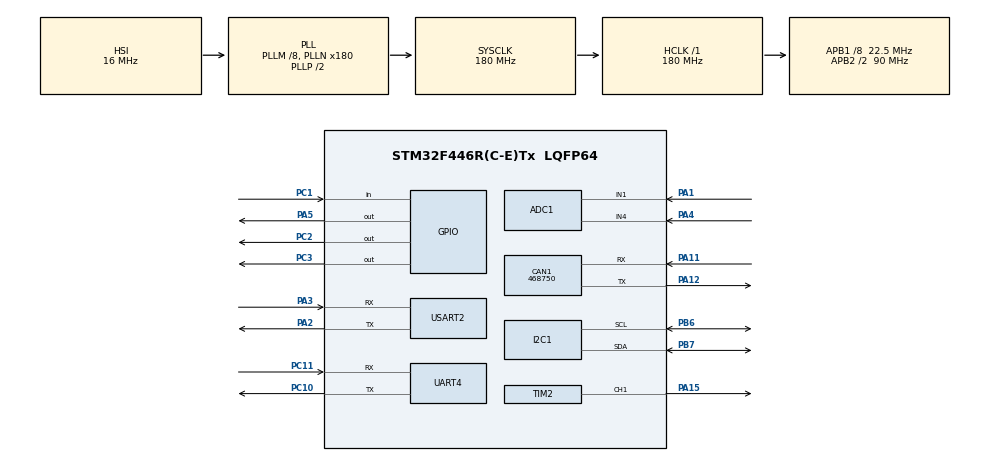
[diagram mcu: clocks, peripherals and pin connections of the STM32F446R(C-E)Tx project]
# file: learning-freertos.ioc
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ADC1.Channel-0\#ChannelRegularConversion=ADC_CHANNEL_1
ADC1.Channel-1\#ChannelRegularConversion=ADC_CHANNEL_1
ADC1.Channel-10\#ChannelRegularConversion=ADC_CHANNEL_1
ADC1.Channel-11\#ChannelRegularConversion=ADC_CHANNEL_1
ADC1.Channel-2\#ChannelRegularConversion=ADC_CHANNEL_1
ADC1.Channel-3\#ChannelRegularConversion=ADC_CHANNEL_1
ADC1.Channel-8\#ChannelRegularConversion=ADC_CHANNEL_1
ADC1.Channel-9\#ChannelRegularConversion=ADC_CHANNEL_1
ADC1.NbrOfConversion=8
ADC1.NbrOfConversionFlag=1
ADC1.Rank-0\#ChannelRegularConversion=1
ADC1.Rank-1\#ChannelRegularConversion=2
ADC1.Rank-10\#ChannelRegularConversion=7
ADC1.Rank-11\#ChannelRegularConversion=8
ADC1.Rank-2\#ChannelRegularConversion=3
ADC1.Rank-3\#ChannelRegularConversion=4
ADC1.Rank-8\#ChannelRegularConversion=5
ADC1.Rank-9\#ChannelRegularConversion=6
ADC1.SamplingTime-0\#ChannelRegularConversion=ADC_SAMPLETIME_3CYCLES
ADC1.SamplingTime-1\#ChannelRegularConversion=ADC_SAMPLETIME_3CYCLES
ADC1.SamplingTime-10\#ChannelRegularConversion=ADC_SAMPLETIME_3CYCLES
ADC1.SamplingTime-11\#ChannelRegularConversion=ADC_SAMPLETIME_3CYCLES
ADC1.SamplingTime-2\#ChannelRegularConversion=ADC_SAMPLETIME_3CYCLES
ADC1.SamplingTime-3\#ChannelRegularConversion=ADC_SAMPLETIME_3CYCLES
ADC1.SamplingTime-8\#ChannelRegularConversion=ADC_SAMPLETIME_3CYCLES
ADC1.SamplingTime-9\#ChannelRegularConversion=ADC_SAMPLETIME_3CYCLES
ADC1.master=1
CAN1.BS1=CAN_BS1_1TQ
CAN1.BS2=CAN_BS2_1TQ
CAN1.CalculateBaudRate=468750
CAN1.CalculateTimeBit=2133
CAN1.CalculateTimeQuantum=711.1111111111111
FREERTOS.Tasks01=defaultTask,24,128,StartDefaultTask,Default,NULL,Dynamic,NULL,NULL
Mcu.Family=STM32F4
Mcu.Name=STM32F446R(C-E)Tx
Mcu.Package=LQFP64
NVIC.PriorityGroup=NVIC_PRIORITYGROUP_4
NVIC.TIM2_IRQn=true\:5\:0\:false\:false\:true\:true\:true\:true\:true
NVIC.TIM6_DAC_IRQn=true\:15\:0\:false\:false\:true\:false\:false\:true\:true
NVIC.TimeBase=TIM6_DAC_IRQn
NVIC.TimeBaseIP=TIM6
PA1.Signal=ADCx_IN1
PA11.Mode=CAN_Activate
PA11.Signal=CAN1_RX
PA12.Mode=CAN_Activate
PA12.Signal=CAN1_TX
PA15.Signal=S_TIM2_CH1_ETR
PA2.Mode=Asynchronous
PA2.Signal=USART2_TX
PA3.Mode=Asynchronous
PA3.Signal=USART2_RX
PA4.Signal=ADCx_IN4
PA5.Signal=GPIO_Output
PB6.Mode=I2C
PB6.Signal=I2C1_SCL
PB7.Mode=I2C
PB7.Signal=I2C1_SDA
PC1.Signal=GPIO_Input
PC10.Mode=Asynchronous
PC10.Signal=UART4_TX
PC11.Mode=Asynchronous
PC11.Signal=UART4_RX
PC2.Signal=GPIO_Output
PC3.Signal=GPIO_Output
PH0-OSC_IN.Mode=HSE-External-Oscillator
PH0-OSC_IN.Signal=RCC_OSC_IN
PH1-OSC_OUT.Mode=HSE-External-Oscillator
PH1-OSC_OUT.Signal=RCC_OSC_OUT
ProjectManager.HeapSize=0x200
ProjectManager.StackSize=0x400
ProjectManager.TargetToolchain=STM32CubeIDE
RCC.AHBFreq_Value=180000000
RCC.APB1CLKDivider=RCC_HCLK_DIV8
RCC.APB1Freq_Value=22500000
RCC.APB1TimFreq_Value=45000000
RCC.APB2CLKDivider=RCC_HCLK_DIV2
RCC.APB2Freq_Value=90000000
RCC.APB2TimFreq_Value=180000000
RCC.CortexFreq_Value=180000000
RCC.HCLKFreq_Value=180000000
RCC.PLLM=8
RCC.PLLN=180
RCC.SYSCLKFreq_VALUE=180000000
RCC.SYSCLKSource=RCC_SYSCLKSOURCE_PLLCLK
RCC.USBFreq_Value=180000000
RCC.VCOOutputFreq_Value=360000000
SH.ADCx_IN1.0=ADC1_IN1,IN1
SH.ADCx_IN4.0=ADC1_IN4,IN4
SH.S_TIM2_CH1_ETR.0=TIM2_CH1,Output Compare1 CH1
TIM2.Channel-Output\ Compare1\ CH1=TIM_CHANNEL_1
TIM2.Period=999
TIM2.Prescaler=44999
TIM2.Pulse-Output\ Compare1\ CH1=999
UART4.VirtualMode=Asynchronous
USART2.VirtualMode=VM_ASYNC
VP_FREERTOS_VS_CMSIS_V2.Mode=CMSIS_V2
VP_SYS_VS_tim6.Mode=TIM6
board=custom

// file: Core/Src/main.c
/* USER CODE BEGIN Header */
/**
  ******************************************************************************
  * @file           : main.c
  * @brief          : Main program body
  ******************************************************************************
  * @attention
  *
  * Copyright (c) 2026 STMicroelectronics.
  * All rights reserved.
  *
  * This software is licensed under terms that can be found in the LICENSE file
  * in the root directory of this software component.
  * If no LICENSE file comes with this software, it is provided AS-IS.
  *
  ******************************************************************************
  */
/* USER CODE END Header */
#include "main.h"
#include "cmsis_os.h"

/* USER CODE BEGIN Includes */
#include "FreeRTOS.h"
#include "task.h"
#include "semphr.h"

#include <stdio.h>
#include <stdlib.h>
#include <stdbool.h>
#include <stdatomic.h>

#include "ring_buffer.h"
#include "uart_driver.h"
#include "i2c.h"
#include "freertos_tasks.h"
#include "CAN_inverter.h"
//#include "CAN_inverter.h"
//#include "freertos_control_task.h"

/* USER CODE END Includes */

/* USER CODE BEGIN PD */
extern SemaphoreHandle_t xIDLESemphr;
extern QueueHandle_t frame_q;
extern TaskHandle_t xMain_ControllerHandle;
extern QueueHandle_t CAN_Command_q;
extern QueueHandle_t CAN_Communciation_q;

extern volatile uint16_t adc_buf[NUM_CH];
extern volatile uint32_t seq;
extern volatile frame_t current_frame;

// From the CAN file
extern QueueHandle_t CAN_Mailbox_q;

//extern volatile atomic_bool adc_conver_ready_buf1;
//extern volatile atomic_bool adc_conver_ready_buf2;
/* USER CODE END PD */

/* USER CODE BEGIN PM */
DMA_HandleTypeDef hdma2;

uint8_t i2c_active_devices[I2C_NUM_VALID_ADDR];
// layout: [A0, B0, A1, B1]  -> frame 0 = {A0,B0}, frame 1 = {A1,B1}
/* USER CODE END PM */

ADC_HandleTypeDef hadc1;

CAN_HandleTypeDef hcan1;

I2C_HandleTypeDef hi2c1;

TIM_HandleTypeDef htim2;

UART_HandleTypeDef huart4;
UART_HandleTypeDef huart2;

/* Definitions for defaultTask */
//osThreadId_t defaultTaskHandle;
//const osThreadAttr_t defaultTask_attributes = {
//  .name = "defaultTask",
//  .stack_size = 128 * 4,
//  .priority = (osPriority_t) osPriorityNormal,
//};
/* USER CODE BEGIN PV */
volatile uint32_t start;
volatile uint32_t prev;
volatile uint32_t cycle_count;
volatile uint8_t cycle_flag = 0;

volatile uint8_t num = 0;

volatile bool RX_receive_ready = 0;
volatile bool RX_overrun_error = 0;
volatile bool RX_buffer_overflow = 0;

Ring_Buffer_t ring_buffer;
Ring_Buffer_t tx_buffer;
Ring_Buffer_t rx_buffer;

uint8_t storage[BUFFER_SIZE];
uint8_t tx_storage[BUFFER_SIZE];
uint8_t rx_storage[BUFFER_SIZE];

/* USER CODE END PV */

void SystemClock_Config(void);
static void MX_GPIO_Init(void);
static void MX_ADC1_Init(void);
static void MX_CAN1_Init(void);
static void MX_I2C1_Init(void);
static void MX_UART4_Init(void);
static void MX_USART2_UART_Init(void);
static void MX_TIM2_Init(void);
void StartDefaultTask(void *argument);

/* USER CODE BEGIN PFP */

int _write(int file, char *ptr, int len);

void start_DWT_cycle_counter(void) {
	CoreDebug->DEMCR |= CoreDebug_DEMCR_TRCENA_Msk;
	DWT->CYCCNT = 0;
	DWT->CTRL |= DWT_CTRL_CYCCNTENA_Msk;
}

uint32_t get_cycle_count(void) {
	return DWT->CYCCNT;
}

void HAL_GPIO_EXTI_Callback(uint16_t GPIO_Pin) { // will be used to go from IDLE to READY_TO_DRIVE
    BaseType_t xHigherPriorityTaskWoken = pdFALSE;

    xSemaphoreGiveFromISR(xIDLESemphr, &xHigherPriorityTaskWoken);

    portYIELD_FROM_ISR(xHigherPriorityTaskWoken);

}

void HAL_TIM_OC_DelayElapsedCallback(TIM_HandleTypeDef* htim) {
	BaseType_t xHigherPriorityTaskWoken = pdFALSE;

	if (xMain_ControllerHandle != NULL) {
		vTaskNotifyGiveFromISR(xMain_ControllerHandle, &xHigherPriorityTaskWoken);
	}

	portYIELD_FROM_ISR(xHigherPriorityTaskWoken);
}

void HAL_ADC_ErrorCallback(ADC_HandleTypeDef *hadc) {
	return; // Do this later
}

void HAL_ADC_ConvHalfCpltCallback(ADC_HandleTypeDef *hadc) {

// I have disabled half conversion completes
}

// Package raw ADC val into frame and send via a queue
void HAL_ADC_ConvCpltCallback(ADC_HandleTypeDef *hadc) {

    frame_t frame = {.a = adc_buf[0], .b = adc_buf[1], .seq_num = ++seq, .t_cycles = DWT->CYCCNT};

    BaseType_t xHigherPriorityTaskWoken = pdFALSE;
    xQueueOverwriteFromISR(frame_q, &frame, &xHigherPriorityTaskWoken); // length-1 queue: keeps only the latest
    portYIELD_FROM_ISR(xHigherPriorityTaskWoken);

}

// CAN Callbacks
void HAL_CAN_TxMailbox0CompleteCallback(CAN_HandleTypeDef *hcan) {
//	UBaseType_t uxSavedInterruptStatus;
//
//	uxSavedInterruptStatus = taskENTER_CRITICAL_FROM_ISR();
//	{
//		mailbox_empty_flag |= (uint8_t)CAN_TX_MAILBOX0;
//	}
//	taskEXIT_CRITICAL_FROM_ISR(uxSavedInterruptStatus);

	uint32_t mailbox_num = CAN_TX_MAILBOX0;

    BaseType_t xHigherPriorityTaskWoken = pdFALSE;
    xQueueSendFromISR(CAN_Mailbox_q, &mailbox_num, &xHigherPriorityTaskWoken);
    portYIELD_FROM_ISR(xHigherPriorityTaskWoken);

}

void HAL_CAN_TxMailbox1CompleteCallback(CAN_HandleTypeDef *hcan) {
	uint32_t mailbox_num = CAN_TX_MAILBOX1;

    BaseType_t xHigherPriorityTaskWoken = pdFALSE;
    xQueueSendFromISR(CAN_Mailbox_q, &mailbox_num, &xHigherPriorityTaskWoken);
    portYIELD_FROM_ISR(xHigherPriorityTaskWoken);
}
}

void HAL_CAN_TxMailbox2CompleteCallback(CAN_HandleTypeDef *hcan) {
	uint32_t mailbox_num = CAN_TX_MAILBOX2;

    BaseType_t xHigherPriorityTaskWoken = pdFALSE;
    xQueueSendFromISR(CAN_Mailbox_q, &mailbox_num, &xHigherPriorityTaskWoken);
    portYIELD_FROM_ISR(xHigherPriorityTaskWoken);
}

void start_interrupts(void) {
//	  HAL_ADC_Start_IT(&hadc1);

	 // Make sure to use length in number of ADC CONVERSIONS, not frames
	  HAL_ADC_Start_DMA(&hadc1, (uint32_t *)adc_buf, NUM_CH);
	  __HAL_DMA_DISABLE_IT(hadc1.DMA_Handle, DMA_IT_HT); // Disable half-conversion complete

	  HAL_TIM_OC_Start_IT(&htim2, TIM_CHANNEL_1);
	  // Enable update interrupt and disable Capture/Compare interrupt (for now)
	  TIM2->DIER |= TIM_DIER_UIE;
//	  TIM2->DIER &= ~TIM_DIER_CC1IE;

	  // Enable CAN interrupts (4 possible vectors)
	  	  // Transmit Interrupts
	  HAL_CAN_ActivateNotification(&hcan1,CAN_IT_TX_MAILBOX_EMPTY);

	  	  // Receive Interrupts
	  HAL_CAN_ActivateNotification(&hcan1,CAN_IT_RX_FIFO0_MSG_PENDING);
	  HAL_CAN_ActivateNotification(&hcan1,CAN_IT_RX_FIFO0_FULL);
	  HAL_CAN_ActivateNotification(&hcan1,CAN_IT_RX_FIFO0_OVERRUN);

	  enable_uart_rx_interrupt();
}

void kernel_init(void) {

//	atomic_init(&adc_conver_ready_buf1,false);
//	atomic_init(&adc_conver_ready_buf2,false);

}

/* USER CODE END PFP */

int main(void)
{

  /* MCU Configuration--------------------------------------------------------*/

  /* Reset of all peripherals, Initializes the Flash interface and the Systick. */
  HAL_Init();

  /* Configure the system clock */
  SystemClock_Config();

  /* Initialize all configured peripherals */
  MX_GPIO_Init();
  MX_ADC1_Init();
  MX_CAN1_Init();
  MX_I2C1_Init();
  MX_UART4_Init();
  MX_USART2_UART_Init();
  MX_TIM2_Init();
  /* USER CODE BEGIN 2 */
  setvbuf(stdout, NULL, _IONBF, 0);
  start_DWT_cycle_counter();

//  rb_init(&ring_buffer, storage, BUFFER_SIZE);
//  rb_init(&tx_buffer, tx_storage, BUFFER_SIZE);
//  rb_init(&rx_buffer, rx_storage, BUFFER_SIZE);

  uint8_t holder;
  uint8_t uart_receiver_buffer[BUFFER_SIZE];

//  start_interrupts();

  uint8_t char_array[] = {'H','E','L','L','O','\r','\n'};
  uint32_t rough_timer = HAL_GetTick();

  /* USER CODE END 2 */

  /* Init scheduler */
  //osKernelInitialize();

  /* USER CODE BEGIN RTOS_SEMAPHORES */
  /* add semaphores, ... */
  xIDLESemphr = xSemaphoreCreateBinary();

  /* USER CODE END RTOS_SEMAPHORES */

  /* USER CODE BEGIN RTOS_QUEUES */
  /* add queues, ... */
  frame_q = xQueueCreate(1, sizeof(frame_t));
  CAN_Command_q = xQueueCreate(1, sizeof(float));
  CAN_Communciation_q = xQueueCreate(1, sizeof(FSM_Events));
  CAN_Mailbox_q = xQueueCreate(NUM_OF_MAILBOXES, sizeof(uint32_t));
  /* USER CODE END RTOS_QUEUES */

  /* Create the thread(s) */
  /* creation of defaultTask */
  //defaultTaskHandle = osThreadNew(StartDefaultTask, NULL, &defaultTask_attributes);

  /* Start scheduler */
  //osKernelStart();

  /* We should never get here as control is now taken by the scheduler */

  /* Infinite loop */
  /* USER CODE BEGIN WHILE */

  /* Start scheduler */
  vTaskStartScheduler();

  /* We should never get here as control is now taken by the scheduler */

  while (1)
  {
    /* USER CODE END WHILE */

//	  HAL_Delay(500);
//	  uart_write(&tx_buffer,char_array,7);

	  if (HAL_GetTick() - rough_timer > 1000) {
//		  uart_write(&tx_buffer, char_array, 7);
		  rough_timer = HAL_GetTick();
	  }

//		  if (cycle_flag) {
//			  cycle_flag = 0;
//			  printf("%lu\r\n", cycle_count);
//		  }

//	  if (RX_receive_ready) {
//		  // Set RX_receive_ready to false, use critical section
//			__disable_irq();
//			RX_receive_ready = false;
//			__enable_irq();
//
//		  uint8_t rx_data;
//		  uart_read(&rx_buffer,&rx_data);
//
//		  printf("\tRECEIVED: %c\r\n",(char)rx_data);
//
//		  //uint32_t data_sent = uart_write(&tx_buffer, char_array, 7);
//	  }
//
//	  if (RX_overrun_error) { // ORE
//			__disable_irq();
//			RX_overrun_error = false;
//			__enable_irq();
//
//		  printf("OVERRUN ERROR HAS OCCURED\r\n");
//		  // Could add more stuff here
//	  }
//
//	  if (RX_buffer_overflow) {
//			__disable_irq();
//			RX_buffer_overflow = false;
//			__enable_irq();
//
//		  printf("BUFFER OVERFLOW HAS OCCURED\r\n");
//		  // Could add more stuff here
//	  }

  }
}

void SystemClock_Config(void)
{
  RCC_OscInitTypeDef RCC_OscInitStruct = {0};
  RCC_ClkInitTypeDef RCC_ClkInitStruct = {0};

  /** Configure the main internal regulator output voltage
  */
  __HAL_RCC_PWR_CLK_ENABLE();
  __HAL_PWR_VOLTAGESCALING_CONFIG(PWR_REGULATOR_VOLTAGE_SCALE1);

  /** Initializes the RCC Oscillators according to the specified parameters
  * in the RCC_OscInitTypeDef structure.
  */
  RCC_OscInitStruct.OscillatorType = RCC_OSCILLATORTYPE_HSI;
  RCC_OscInitStruct.HSIState = RCC_HSI_ON;
  RCC_OscInitStruct.HSICalibrationValue = RCC_HSICALIBRATION_DEFAULT;
  RCC_OscInitStruct.PLL.PLLState = RCC_PLL_ON;
  RCC_OscInitStruct.PLL.PLLSource = RCC_PLLSOURCE_HSI;
  RCC_OscInitStruct.PLL.PLLM = 8;
  RCC_OscInitStruct.PLL.PLLN = 180;
  RCC_OscInitStruct.PLL.PLLP = RCC_PLLP_DIV2;
  RCC_OscInitStruct.PLL.PLLQ = 2;
  RCC_OscInitStruct.PLL.PLLR = 2;
  if (HAL_RCC_OscConfig(&RCC_OscInitStruct) != HAL_OK)
  {
    Error_Handler();
  }

  /** Activate the Over-Drive mode
  */
  if (HAL_PWREx_EnableOverDrive() != HAL_OK)
  {
    Error_Handler();
  }

  /** Initializes the CPU, AHB and APB buses clocks
  */
  RCC_ClkInitStruct.ClockType = RCC_CLOCKTYPE_HCLK|RCC_CLOCKTYPE_SYSCLK
                              |RCC_CLOCKTYPE_PCLK1|RCC_CLOCKTYPE_PCLK2;
  RCC_ClkInitStruct.SYSCLKSource = RCC_SYSCLKSOURCE_PLLCLK;
  RCC_ClkInitStruct.AHBCLKDivider = RCC_SYSCLK_DIV1;
  RCC_ClkInitStruct.APB1CLKDivider = RCC_HCLK_DIV8;
  RCC_ClkInitStruct.APB2CLKDivider = RCC_HCLK_DIV2;

  if (HAL_RCC_ClockConfig(&RCC_ClkInitStruct, FLASH_LATENCY_5) != HAL_OK)
  {
    Error_Handler();
  }
}

static void MX_ADC1_Init(void)
{

  ADC_ChannelConfTypeDef sConfig = {0};

  /* USER CODE BEGIN ADC1_Init 1 */

  // The ADC has a speed of 90 MHz/4 = 22.5 MHz
  // Note the ADC VREF+ is tied to VDD (3.3V), VREF- is tied to VSS (0V)

  /* USER CODE END ADC1_Init 1 */

  /** Configure the global features of the ADC (Clock, Resolution, Data Alignment and number of conversion)
  */
  hadc1.Instance = ADC1;
  hadc1.Init.ClockPrescaler = ADC_CLOCK_SYNC_PCLK_DIV4;
  hadc1.Init.Resolution = ADC_RESOLUTION_12B;
  hadc1.Init.ScanConvMode = ENABLE;
  hadc1.Init.ContinuousConvMode = DISABLE;
  hadc1.Init.DiscontinuousConvMode = DISABLE;
  hadc1.Init.ExternalTrigConvEdge = ADC_EXTERNALTRIGCONVEDGE_RISING;
  hadc1.Init.ExternalTrigConv = ADC_EXTERNALTRIGCONV_T2_TRGO;
  hadc1.Init.DataAlign = ADC_DATAALIGN_RIGHT;
  hadc1.Init.NbrOfConversion = NUM_CH; // STMF446 doesn't have oversampling unit, need to do it manually
  hadc1.Init.DMAContinuousRequests = ENABLE;
  hadc1.Init.EOCSelection = ADC_EOC_SINGLE_CONV;
  if (HAL_ADC_Init(&hadc1) != HAL_OK)
  {
    Error_Handler();
  }

  /** Configure for the selected ADC regular channel its corresponding rank in the sequencer and its sample time.
  */
  sConfig.Channel = ADC_CHANNEL_1;
  sConfig.Rank = 1;
  sConfig.SamplingTime = ADC_SAMPLETIME_84CYCLES;
  if (HAL_ADC_ConfigChannel(&hadc1, &sConfig) != HAL_OK)
  {
    Error_Handler();
  }

  /** Configure for the selected ADC regular channel its corresponding rank in the sequencer and its sample time.
  */
  sConfig.Rank = 2;
  if (HAL_ADC_ConfigChannel(&hadc1, &sConfig) != HAL_OK)
  {
    Error_Handler();
  }

  /** Configure for the selected ADC regular channel its corresponding rank in the sequencer and its sample time.
  */
  sConfig.Rank = 3;
  if (HAL_ADC_ConfigChannel(&hadc1, &sConfig) != HAL_OK)
  {
    Error_Handler();
  }

  /** Configure for the selected ADC regular channel its corresponding rank in the sequencer and its sample time.
  */
  sConfig.Rank = 4;
  if (HAL_ADC_ConfigChannel(&hadc1, &sConfig) != HAL_OK)
  {
    Error_Handler();
  }

  /** Configure for the selected ADC regular channel its corresponding rank in the sequencer and its sample time.
  */
  sConfig.Rank = 5;
  if (HAL_ADC_ConfigChannel(&hadc1, &sConfig) != HAL_OK)
  {
    Error_Handler();
  }

  /** Configure for the selected ADC regular channel its corresponding rank in the sequencer and its sample time.
  */
  sConfig.Rank = 6;
  if (HAL_ADC_ConfigChannel(&hadc1, &sConfig) != HAL_OK)
  {
    Error_Handler();
  }

  /** Configure for the selected ADC regular channel its corresponding rank in the sequencer and its sample time.
  */
  sConfig.Rank = 7;
  if (HAL_ADC_ConfigChannel(&hadc1, &sConfig) != HAL_OK)
  {
    Error_Handler();
  }

  /** Configure for the selected ADC regular channel its corresponding rank in the sequencer and its sample time.
  */
  sConfig.Rank = 8;
  if (HAL_ADC_ConfigChannel(&hadc1, &sConfig) != HAL_OK)
  {
    Error_Handler();
  }
  /* USER CODE BEGIN ADC1_Init 2 */

  // Manually add channels here (not relying on CubeMX). Using 2 channels
  sConfig.Channel = ADC_CHANNEL_4;
  sConfig.Rank = 2;
  sConfig.SamplingTime = ADC_SAMPLETIME_84CYCLES;
  if (HAL_ADC_ConfigChannel(&hadc1, &sConfig) != HAL_OK)
  {
    Error_Handler();
  }

  // Enable interrupt
  HAL_NVIC_SetPriority(ADC_IRQn,5,0);
  HAL_NVIC_EnableIRQ(ADC_IRQn);

  /* USER CODE END ADC1_Init 2 */

}

static void MX_CAN1_Init(void)
{

	// Will be using speed of 500 kMbps. 1M will require changing PCLK, but that
	// will disturb all other peripherals.

  hcan1.Instance = CAN1;
  hcan1.Init.Prescaler = 5;
  hcan1.Init.Mode = CAN_MODE_NORMAL;
  hcan1.Init.SyncJumpWidth = CAN_SJW_1TQ;
  hcan1.Init.TimeSeg1 = CAN_BS1_4TQ;
  hcan1.Init.TimeSeg2 = CAN_BS2_4TQ;
  hcan1.Init.TimeTriggeredMode = DISABLE;
  hcan1.Init.AutoBusOff = DISABLE;
  hcan1.Init.AutoWakeUp = DISABLE;
  hcan1.Init.AutoRetransmission = DISABLE;
  hcan1.Init.ReceiveFifoLocked = DISABLE;
  hcan1.Init.TransmitFifoPriority = DISABLE;
  if (HAL_CAN_Init(&hcan1) != HAL_OK)
  {
    Error_Handler();
  }
  /* USER CODE BEGIN CAN1_Init 2 */
  HAL_NVIC_SetPriority(CAN1_TX_IRQn, 5, 0);
  HAL_NVIC_SetPriority(CAN1_RX0_IRQn, 5, 0);
  HAL_NVIC_SetPriority(CAN1_SCE_IRQn, 5, 0);

  HAL_NVIC_EnableIRQ(CAN1_TX_IRQn);
  HAL_NVIC_EnableIRQ(CAN1_RX0_IRQn);
  HAL_NVIC_EnableIRQ(CAN1_SCE_IRQn);

  //----------------------------------
  // Configure the reception filters
  // .......
  // .......
  //----------------------------------

  /* USER CODE END CAN1_Init 2 */

}

static void MX_I2C1_Init(void)
{

  hi2c1.Instance = I2C1;
  hi2c1.Init.ClockSpeed = 100000;
  hi2c1.Init.DutyCycle = I2C_DUTYCYCLE_2;
  hi2c1.Init.OwnAddress1 = 0;
  hi2c1.Init.AddressingMode = I2C_ADDRESSINGMODE_7BIT;
  hi2c1.Init.DualAddressMode = I2C_DUALADDRESS_DISABLE;
  hi2c1.Init.OwnAddress2 = 0;
  hi2c1.Init.GeneralCallMode = I2C_GENERALCALL_DISABLE;
  hi2c1.Init.NoStretchMode = I2C_NOSTRETCH_DISABLE;
  if (HAL_I2C_Init(&hi2c1) != HAL_OK)
  {
    Error_Handler();
  }

}

static void MX_TIM2_Init(void)
{

  /* USER CODE BEGIN TIM2_Init 0 */
  HAL_TIM_OC_MspInit (&htim2);
  /* USER CODE END TIM2_Init 0 */

  TIM_MasterConfigTypeDef sMasterConfig = {0};
  TIM_OC_InitTypeDef sConfigOC = {0};

  htim2.Instance = TIM2;
  htim2.Init.Prescaler = 45; // APB1 is 45MHz
  htim2.Init.CounterMode = TIM_COUNTERMODE_UP;
  htim2.Init.Period = 999; // Value to be loaded
  htim2.Init.ClockDivision = TIM_CLOCKDIVISION_DIV1;
  htim2.Init.AutoReloadPreload = TIM_AUTORELOAD_PRELOAD_DISABLE;
  if (HAL_TIM_OC_Init(&htim2) != HAL_OK)
  {
    Error_Handler();
  }
  sMasterConfig.MasterOutputTrigger = TIM_TRGO_UPDATE;
  sMasterConfig.MasterSlaveMode = TIM_MASTERSLAVEMODE_DISABLE;
  if (HAL_TIMEx_MasterConfigSynchronization(&htim2, &sMasterConfig) != HAL_OK)
  {
    Error_Handler();
  }
  sConfigOC.OCMode = TIM_OCMODE_TIMING;
  sConfigOC.Pulse = 999; // interrupt every of 1 ms
  sConfigOC.OCPolarity = TIM_OCPOLARITY_HIGH;
  sConfigOC.OCFastMode = TIM_OCFAST_DISABLE;
  if (HAL_TIM_OC_ConfigChannel(&htim2, &sConfigOC, TIM_CHANNEL_1) != HAL_OK)
  {
    Error_Handler();
  }
  /* USER CODE BEGIN TIM2_Init 2 */

  // Set update request source to counter overflow to enable update interrupt
  TIM2->CR1 |= TIM_CR1_URS;

  // Make sure UEV is enabled
  TIM2->CR1 &= ~TIM_CR1_UDIS;

  /* USER CODE END TIM2_Init 2 */
  HAL_TIM_MspPostInit(&htim2);

}

static void MX_UART4_Init(void)
{

  huart4.Instance = UART4;
  huart4.Init.BaudRate = 115200;
  huart4.Init.WordLength = UART_WORDLENGTH_8B;
  huart4.Init.StopBits = UART_STOPBITS_1;
  huart4.Init.Parity = UART_PARITY_NONE;
  huart4.Init.Mode = UART_MODE_TX_RX;
  huart4.Init.HwFlowCtl = UART_HWCONTROL_NONE;
  huart4.Init.OverSampling = UART_OVERSAMPLING_16;
  if (HAL_UART_Init(&huart4) != HAL_OK)
  {
    Error_Handler();
  }

}

static void MX_USART2_UART_Init(void)
{

  huart2.Instance = USART2;
  huart2.Init.BaudRate = 115200;
  huart2.Init.WordLength = UART_WORDLENGTH_8B;
  huart2.Init.StopBits = UART_STOPBITS_1;
  huart2.Init.Parity = UART_PARITY_NONE;
  huart2.Init.Mode = UART_MODE_TX_RX;
  huart2.Init.HwFlowCtl = UART_HWCONTROL_NONE;
  huart2.Init.OverSampling = UART_OVERSAMPLING_16;
  if (HAL_UART_Init(&huart2) != HAL_OK)
  {
    Error_Handler();
  }
  /* USER CODE BEGIN USART2_Init 2 */
  	  // The interrupt has been enabled in HAL_UART_MspInit. Note UART's TX and RX share same interrupt vector
  /* USER CODE END USART2_Init 2 */

}

static void MX_GPIO_Init(void)
{
  GPIO_InitTypeDef GPIO_InitStruct = {0};

  /* GPIO Ports Clock Enable */
  __HAL_RCC_GPIOH_CLK_ENABLE();
  __HAL_RCC_GPIOC_CLK_ENABLE();
  __HAL_RCC_GPIOA_CLK_ENABLE();
  __HAL_RCC_GPIOB_CLK_ENABLE();

  /*Configure GPIO pin Output Level */
  HAL_GPIO_WritePin(GPIOC, GPIO_PIN_2, GPIO_PIN_RESET);

  /*Configure GPIO pin Output Level */
  HAL_GPIO_WritePin(GPIOC, GPIO_PIN_3, GPIO_PIN_RESET);

  /*Configure GPIO pin Output Level */
  HAL_GPIO_WritePin(GPIOA, GPIO_PIN_5, GPIO_PIN_RESET);

  /*Configure GPIO pin : PC1 */
  GPIO_InitStruct.Pin = GPIO_PIN_1;
  GPIO_InitStruct.Mode = GPIO_MODE_INPUT;
  GPIO_InitStruct.Pull = GPIO_NOPULL;
  HAL_GPIO_Init(GPIOC, &GPIO_InitStruct);

  /*Configure GPIO pin : PC2 */
  GPIO_InitStruct.Pin = GPIO_PIN_2;
  GPIO_InitStruct.Mode = GPIO_MODE_OUTPUT_PP;
  GPIO_InitStruct.Pull = GPIO_NOPULL;
  GPIO_InitStruct.Speed = GPIO_SPEED_FREQ_LOW;
  HAL_GPIO_Init(GPIOC, &GPIO_InitStruct);

  /*Configure GPIO pin : PC3 */
  GPIO_InitStruct.Pin = GPIO_PIN_3;
  GPIO_InitStruct.Mode = GPIO_MODE_OUTPUT_PP;
  GPIO_InitStruct.Pull = GPIO_NOPULL;
  GPIO_InitStruct.Speed = GPIO_SPEED_FREQ_LOW;
  HAL_GPIO_Init(GPIOC, &GPIO_InitStruct);

  /*Configure GPIO pin : PA5 */ // For the green led
  GPIO_InitStruct.Pin = GPIO_PIN_5;
  GPIO_InitStruct.Mode = GPIO_MODE_OUTPUT_PP;
  GPIO_InitStruct.Pull = GPIO_NOPULL;
  GPIO_InitStruct.Speed = GPIO_SPEED_FREQ_LOW;
  HAL_GPIO_Init(GPIOA, &GPIO_InitStruct);

  /* USER CODE BEGIN MX_GPIO_Init_2 */

  /*Configure GPIO pin : PC13 (the user button) <- delete this later if setting using cubemx */
  GPIO_InitStruct.Pin = GPIO_PIN_13;
  GPIO_InitStruct.Mode = GPIO_MODE_IT_RISING;
  GPIO_InitStruct.Pull = GPIO_NOPULL;
  HAL_GPIO_Init(GPIOC, &GPIO_InitStruct);

  HAL_NVIC_SetPriority(EXTI15_10_IRQn,8,0); // Set PC13 (the blue button) to external interrupt
  HAL_NVIC_EnableIRQ(EXTI15_10_IRQn);
  /* USER CODE END MX_GPIO_Init_2 */
}

/* USER CODE BEGIN 4 */
//#ifdef __GNUC__ // GNU compiler (gcc)
//#define PUTCHAR_PROTOTYPE int __io_putchar(int ch) //gcc expects this
//#else
//#define PUTCHAR_PROTOTYPE int fputc(int ch, FILE *f) // other compilers expect this
//#endif
//
//PUTCHAR_PROTOTYPE {
//	HAL_UART_Transmit(&huart2, (uint8_t *)&ch, 1, HAL_MAX_DELAY);
//	return ch;
//}

int _write(int file, char *ptr, int len)
{
    HAL_UART_Transmit(&huart2, (uint8_t*)ptr, len, HAL_MAX_DELAY);
    return len;
}

/* USER CODE END 4 */

void StartDefaultTask(void *argument)
{
  for(;;)
  {
    osDelay(1);
  }
}

void HAL_TIM_PeriodElapsedCallback(TIM_HandleTypeDef *htim)
{
  if (htim->Instance == TIM6)
  {
    HAL_IncTick();
  }
  /* USER CODE BEGIN Callback 1 */
//  if (htim->Instance == TIM2) {
//
//  }
  /* USER CODE END Callback 1 */
}

void Error_Handler(void)
{
  __disable_irq();
  while (1)
  {
  }
}
